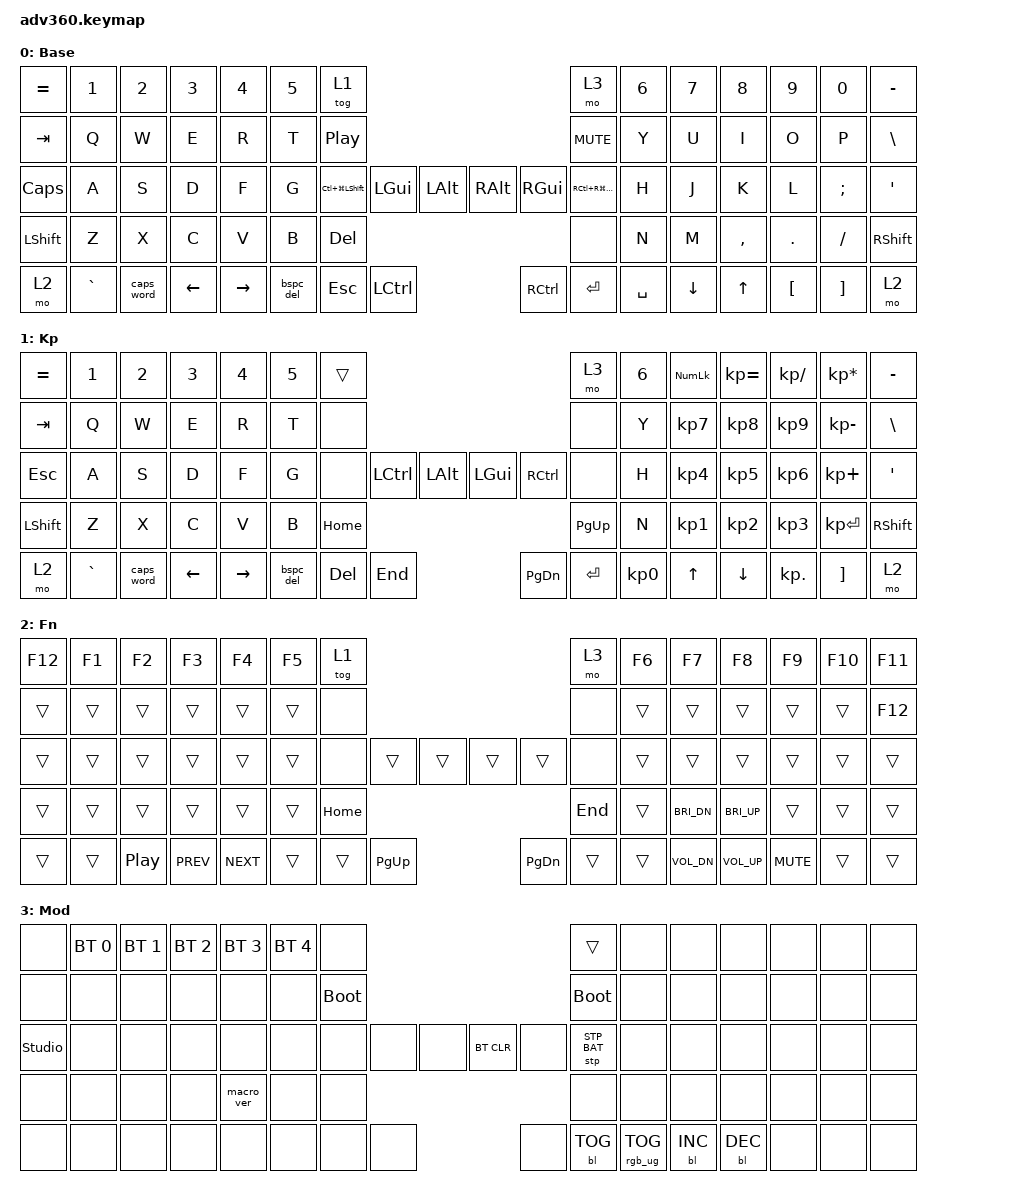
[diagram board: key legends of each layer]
#include <behaviors.dtsi>
#include <dt-bindings/zmk/keys.h>
#include <dt-bindings/zmk/bt.h>
#include <dt-bindings/zmk/rgb.h>
#include <dt-bindings/zmk/stp.h>
#include <dt-bindings/zmk/backlight.h>
#include <dt-bindings/zmk/pointing.h>

/ {
    behaviors {
      #include "macros.dtsi"
      #include "version.dtsi"

      hm: homerow_mods {
          compatible = "zmk,behavior-hold-tap";
          label = "HOMEROW_MODS";
          #binding-cells = <2>;
          tapping-term-ms = <200>;
          quick_tap_ms = <175>;
          flavor = "tap-preferred";
          bindings = <&kp>, <&kp>;
      };

      bspc_del: backspace_delete {
          compatible = "zmk,behavior-mod-morph";
          #binding-cells = <0>;
          bindings = <&kp BACKSPACE>, <&kp DELETE>;
          mods = <(MOD_LSFT|MOD_RSFT)>;
      };
    };

  keymap {
    compatible = "zmk,keymap";

    default_layer {
      display-name = "Base";
      bindings = <
        &kp EQUAL &kp N1    &kp N2   &kp N3   &kp N4     &kp N5 &tog 1                                                                        &mo 3              &kp N6 &kp N7   &kp N8    &kp N9   &kp N0   &kp MINUS
        &kp TAB   &kp Q     &kp W    &kp E    &kp R      &kp T  &kp C_PP                                                                      &kp C_MUTE         &kp Y  &kp U    &kp I     &kp O    &kp P    &kp BSLH
        &kp CAPS  &kp A     &kp S    &kp D    &kp F      &kp G  &kp LC(LG(LSHIFT))    &kp LGUI &kp LALT  &kp RALT  &kp RGUI                   &kp RC(RG(RSHIFT)) &kp H  &kp J    &kp K     &kp L    &kp SEMI &kp SQT
        &kp LSHFT &kp Z     &kp X    &kp C    &kp V      &kp B                                 &kp DEL   &none                                                 &kp N  &kp M    &kp COMMA &kp DOT  &kp FSLH &kp RSHFT
        &mo 2     &kp GRAVE &caps_word &kp LEFT &kp RIGHT               &bspc_del &kp ESC      &kp LCTRL  &kp RCTRL &kp ENTER &kp SPACE                                  &kp DOWN &kp UP    &kp LBKT &kp RBKT &mo 2
      >;
    };
    keypad {
      display-name = "Kp";
      bindings = <
        &kp EQUAL &kp N1    &kp N2   &kp N3   &kp N4     &kp N5 &trans                                                           &mo 3 &kp N6 &kp KP_NUM &kp KP_EQUAL &kp KP_DIVIDE &kp KP_MULTIPLY &kp MINUS
        &kp TAB   &kp Q     &kp W    &kp E    &kp R      &kp T  &none                                                            &none &kp Y  &kp KP_N7  &kp KP_N8    &kp KP_N9     &kp KP_MINUS    &kp BSLH
        &kp ESC   &kp A     &kp S    &kp D    &kp F      &kp G  &none           &kp LCTRL &kp LALT &kp LGUI  &kp RCTRL           &none &kp H  &kp KP_N4  &kp KP_N5    &kp KP_N6     &kp KP_PLUS     &kp SQT
        &kp LSHFT &kp Z     &kp X    &kp C    &kp V      &kp B                            &kp HOME &kp PG_UP                           &kp N  &kp KP_N1  &kp KP_N2    &kp KP_N3     &kp KP_ENTER    &kp RSHFT
        &mo 2     &kp GRAVE &caps_word &kp LEFT &kp RIGHT               &bspc_del &kp DEL  &kp END  &kp PG_DN &kp ENTER &kp KP_N0              &kp UP     &kp DOWN     &kp KP_DOT    &kp RBKT        &mo 2
      >;
    };
    fn {
      display-name = "Fn";
      bindings = <
        &kp F12 &kp F1 &kp F2 &kp F3 &kp F4 &kp F5 &tog 1                                           &mo 3 &kp F6       &kp F7       &kp F8     &kp F9  &kp F10 &kp F11
        &trans  &trans &trans &trans &trans &trans  &none                                           &none &trans       &trans       &trans     &trans  &trans  &kp F12
        &trans  &trans &trans &trans &trans &trans  &none        &trans &trans &trans &trans        &none &trans       &trans       &trans     &trans  &trans  &trans
        &trans  &trans &trans &trans &trans &trans                      &kp HOME &kp END                 &trans       &kp C_BRI_DN &kp C_BRI_UP &trans &trans &trans
        &trans  &trans &kp C_PP &kp C_PREV &kp C_NEXT               &trans &trans &kp PG_UP &kp PG_DN &trans &trans   &kp C_VOL_DN &kp C_VOL_UP &kp C_MUTE &trans  &trans
      >;
    };
    mod {
      display-name = "Mod";
      bindings = <
        &none &bt BT_SEL 0 &bt BT_SEL 1 &bt BT_SEL 2 &bt BT_SEL 3 &bt BT_SEL 4 &none                                                                     &trans                 &none        &none        &none        &none &none &none
        &none &none        &none        &none        &none        &none        &bootloader                                                               &bootloader            &none        &none        &none        &none &none &none
        &studio_unlock &none        &none        &none        &none        &none        &none                   &none &none &bt BT_CLR &none                      &stp STP_BAT &none        &none        &none        &none &none &none
        &none &none        &none        &none        &macro_ver   &none                                      &none &none                                                        &none        &none        &none        &none &none &none
        &none &none        &none        &none        &none                                       &none &none &none &none      &bl BL_TOG &rgb_ug RGB_TOG                                     &bl BL_INC   &bl BL_DEC   &none &none &none
      >;
    };
    extra1 { 
      display-name = "Red";    
      status = "reserved";
    };

    extra2 { 
      display-name = "Purple";    
      status = "reserved";
    };

    extra3 { 
      display-name = "Cyan";    
      status = "reserved";
    };

    extra4 { 
      display-name = "Yellow";    
      status = "reserved";
    };
  };
};
